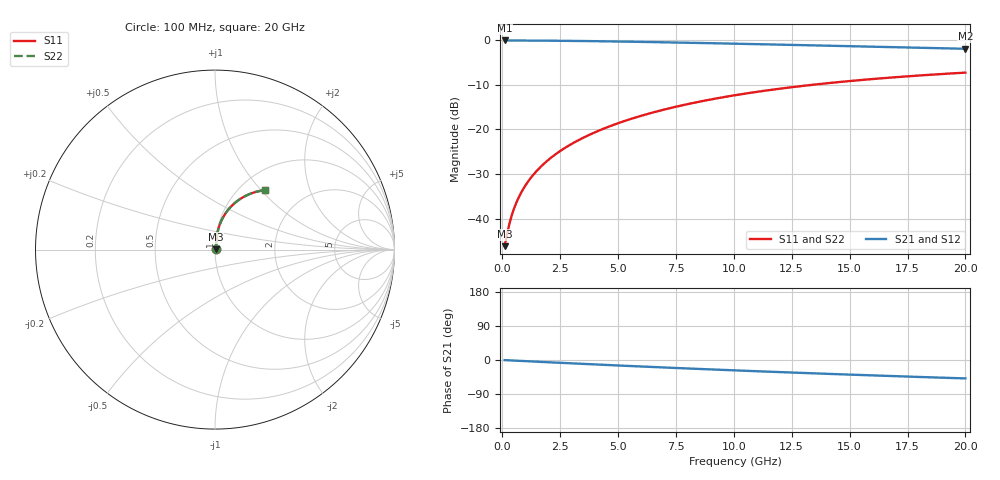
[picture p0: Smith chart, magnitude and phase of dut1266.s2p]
! Touchstone file exported from HFSS 2024.1.0
!  File:  C:/UserFiles/LocalFiles/RDL_TSV_Batchsim/temp_RDL_top_1266_1780241975.aedt
!  Generated:  11:42:13 PM May 31, 2026
!  Design:  RDL_top
!  Project:  temp_RDL_top_1266_1780241975
!  Setup:  Setup1
!  Solution:  Sweep
! Variables:
!  dtsv = 10.80580581um
!  hbump = 3um
!  htsv = 95.44um
!  ldown = 100um
!  lrdl = 655.43um
!  p = 40
!  p1 = 57.9um
!  rhole = 1um
!  t = 450um
!  tdown = 3.915915916um
!  trdl = 2.49um
!  wdown = 15.38538539um
!  wrdl = 23.43um
# GHz S MA R 50.000000
! Terminal data exported
! Port[1] = Box2_T1
! Port[2] = Box2_T2
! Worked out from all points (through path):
!   200 points, 100 MHz to 20 GHz, reference 50 ohm
!   highest |S21| = -0.04 dB at 100 MHz (marker M1); lowest = -1.9 dB at 20 GHz (marker M2)
!   group delay of S21, straight-line fit = 6.72 ps
!   lowest |S11| = -46.2 dB at 100 MHz (marker M3), VSWR 1.01, Z = 50.4 + j0.251 ohm
!   |S11| at or under -10 dB: start of sweep to 13.36 GHz
!   |S22| runs from -46.2 to -7.3 dB; largest |S21 - S12| = 7.2e-15
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0.1  0.004918 30.4  0.9957 -0.3  0.9957 -0.3  0.004918 30.4
! Gamma 0 0 0 0
! Port Impedance 50 0 50 0
0.2  0.006596 48.4  0.9956 -0.6  0.9956 -0.6  0.006596 48.4
0.3  0.008609 57.9  0.9954 -0.9  0.9954 -0.9  0.008609 57.9
0.4  0.01072 63.6  0.9951 -1.2  0.9951 -1.2  0.01072 63.6
0.5  0.01284 67.3  0.9948 -1.5  0.9948 -1.5  0.01284 67.3
0.6  0.01498 70.0  0.9946 -1.8  0.9946 -1.8  0.01498 70.0
0.8  0.01927 73.7  0.9941 -2.4  0.9941 -2.4  0.01927 73.7
1.1  0.02579 77.1  0.9933 -3.3  0.9933 -3.3  0.02579 77.1
1.3  0.03019 78.5  0.9926 -3.9  0.9926 -3.9  0.03019 78.5
1.6  0.03686 80.0  0.9916 -4.8  0.9916 -4.8  0.03686 80.0
2.1  0.04817 81.4  0.9895 -6.3  0.9895 -6.3  0.04817 81.4
2.7  0.06203 82.1  0.9863 -8.0  0.9863 -8.0  0.06202 82.1
3.5  0.08093 82.1  0.9812 -10.3  0.9812 -10.3  0.08092 82.1
4.2  0.09785 81.7  0.9759 -12.3  0.9759 -12.3  0.09782 81.7
5  0.1175 80.8  0.9691 -14.5  0.9691 -14.5  0.1175 80.7
6.8  0.1625 77.8  0.9517 -19.3  0.9517 -19.3  0.1624 77.8
8.4  0.2023 74.5  0.9347 -23.4  0.9347 -23.4  0.2022 74.5
10.1  0.2434 70.8  0.9156 -27.5  0.9156 -27.5  0.2433 70.8
11.7  0.2803 67.2  0.8972 -31.3  0.8972 -31.3  0.2801 67.2
13.4  0.3171 63.4  0.8775 -35.1  0.8775 -35.1  0.3169 63.3
16.7  0.3807 56.3  0.8396 -42.1  0.8396 -42.1  0.3805 56.3
20  0.434 49.7  0.8033 -48.6  0.8033 -48.6  0.4338 49.7
